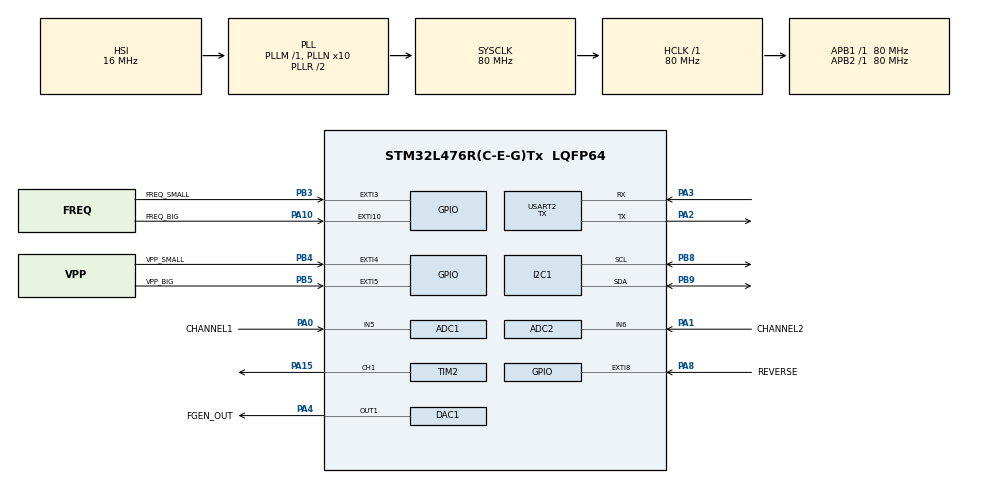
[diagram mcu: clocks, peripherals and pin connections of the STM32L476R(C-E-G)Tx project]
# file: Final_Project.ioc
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ADC1.Channel-0\#ChannelRegularConversion=ADC_CHANNEL_5
ADC1.NbrOfConversionFlag=1
ADC1.OffsetNumber-0\#ChannelRegularConversion=ADC_OFFSET_NONE
ADC1.Rank-0\#ChannelRegularConversion=1
ADC1.SamplingTime-0\#ChannelRegularConversion=ADC_SAMPLETIME_2CYCLES_5
ADC1.master=1
ADC2.Channel-0\#ChannelRegularConversion=ADC_CHANNEL_6
ADC2.NbrOfConversionFlag=1
ADC2.OffsetNumber-0\#ChannelRegularConversion=ADC_OFFSET_NONE
ADC2.Rank-0\#ChannelRegularConversion=1
ADC2.SamplingTime-0\#ChannelRegularConversion=ADC_SAMPLETIME_2CYCLES_5
DAC1.DAC_SampleAndHold-DAC_OUT1=DAC_SAMPLEANDHOLD_DISABLE
DAC1.DAC_Trigger-DAC_OUT1=DAC_TRIGGER_T2_TRGO
DAC1.WaveGeneration-DAC_OUT1=DISABLE
Dma.DAC_CH1.0.Direction=DMA_MEMORY_TO_PERIPH
Dma.DAC_CH1.0.Instance=DMA1_Channel3
Dma.DAC_CH1.0.MemDataAlignment=DMA_MDATAALIGN_WORD
Dma.DAC_CH1.0.MemInc=DMA_MINC_ENABLE
Dma.DAC_CH1.0.Mode=DMA_CIRCULAR
Dma.DAC_CH1.0.PeriphDataAlignment=DMA_PDATAALIGN_WORD
Dma.DAC_CH1.0.PeriphInc=DMA_PINC_DISABLE
Dma.DAC_CH1.0.Priority=DMA_PRIORITY_HIGH
Dma.Request0=DAC_CH1
Dma.Request1=USART2_TX
Dma.USART2_TX.1.Direction=DMA_MEMORY_TO_PERIPH
Dma.USART2_TX.1.Instance=DMA1_Channel7
Dma.USART2_TX.1.MemDataAlignment=DMA_MDATAALIGN_BYTE
Dma.USART2_TX.1.MemInc=DMA_MINC_ENABLE
Dma.USART2_TX.1.Mode=DMA_NORMAL
Dma.USART2_TX.1.PeriphDataAlignment=DMA_PDATAALIGN_BYTE
Dma.USART2_TX.1.PeriphInc=DMA_PINC_DISABLE
Dma.USART2_TX.1.Priority=DMA_PRIORITY_LOW
I2C1.Timing=0x10D19CE4
Mcu.Family=STM32L4
Mcu.Name=STM32L476R(C-E-G)Tx
Mcu.Package=LQFP64
NVIC.DMA1_Channel3_IRQn=true\:0\:0\:false\:false\:true\:false\:true\:true
NVIC.DMA1_Channel7_IRQn=true\:0\:0\:false\:false\:true\:false\:true\:true
NVIC.EXTI15_10_IRQn=true\:0\:0\:false\:false\:true\:true\:true\:true
NVIC.EXTI3_IRQn=true\:0\:0\:false\:false\:true\:true\:true\:true
NVIC.EXTI4_IRQn=true\:0\:0\:false\:false\:true\:true\:true\:true
NVIC.EXTI9_5_IRQn=true\:0\:0\:false\:false\:true\:true\:true\:true
NVIC.PriorityGroup=NVIC_PRIORITYGROUP_4
NVIC.TIM2_IRQn=true\:0\:0\:false\:false\:true\:true\:true\:true
NVIC.TIM6_DAC_IRQn=true\:0\:0\:false\:false\:true\:true\:true\:true
NVIC.USART2_IRQn=true\:0\:0\:false\:false\:true\:true\:true\:true
PA0.GPIO_Label=CHANNEL1
PA0.Signal=ADCx_IN5
PA1.GPIO_Label=CHANNEL2
PA1.Signal=ADCx_IN6
PA10.GPIO_Label=FREQ_BIG
PA10.Signal=GPXTI10
PA13\ (JTMS-SWDIO).GPIO_Label=TMS
PA13\ (JTMS-SWDIO).Mode=Serial_Wire
PA13\ (JTMS-SWDIO).Signal=SYS_JTMS-SWDIO
PA14\ (JTCK-SWCLK).GPIO_Label=TCK
PA14\ (JTCK-SWCLK).Mode=Serial_Wire
PA14\ (JTCK-SWCLK).Signal=SYS_JTCK-SWCLK
PA15\ (JTDI).Signal=S_TIM2_CH1
PA2.Mode=Asynchronous
PA2.Signal=USART2_TX
PA3.Mode=Asynchronous
PA3.Signal=USART2_RX
PA4.GPIO_Label=FGEN_OUT
PA4.Signal=SharedAnalog_PA4
PA8.GPIO_Label=REVERSE
PA8.Signal=GPXTI8
PB3\ (JTDO-TRACESWO).GPIO_Label=FREQ_SMALL
PB3\ (JTDO-TRACESWO).GPIO_PuPd=GPIO_PULLUP
PB3\ (JTDO-TRACESWO).Signal=GPXTI3
PB4\ (NJTRST).GPIO_Label=VPP_SMALL
PB4\ (NJTRST).GPIO_PuPd=GPIO_PULLUP
PB4\ (NJTRST).Signal=GPXTI4
PB5.GPIO_Label=VPP_BIG
PB5.GPIO_PuPd=GPIO_PULLUP
PB5.Signal=GPXTI5
PB8.Mode=I2C
PB8.Signal=I2C1_SCL
PB9.Mode=I2C
PB9.Signal=I2C1_SDA
PC14-OSC32_IN\ (PC14).Mode=LSE-External-Oscillator
PC14-OSC32_IN\ (PC14).Signal=RCC_OSC32_IN
PC15-OSC32_OUT\ (PC15).Mode=LSE-External-Oscillator
PC15-OSC32_OUT\ (PC15).Signal=RCC_OSC32_OUT
PH0-OSC_IN\ (PH0).Signal=RCC_OSC_IN
PH1-OSC_OUT\ (PH1).Signal=RCC_OSC_OUT
ProjectManager.HeapSize=0x200
ProjectManager.StackSize=0x400
ProjectManager.TargetToolchain=STM32CubeIDE
RCC.ADCFreq_Value=64000000
RCC.AHBFreq_Value=80000000
RCC.APB1Freq_Value=80000000
RCC.APB1TimFreq_Value=80000000
RCC.APB2Freq_Value=80000000
RCC.APB2TimFreq_Value=80000000
RCC.CortexFreq_Value=80000000
RCC.HCLKFreq_Value=80000000
RCC.HSE_VALUE=8000000
RCC.HSI_VALUE=16000000
RCC.MSI_VALUE=4000000
RCC.PLLN=10
RCC.PLLSourceVirtual=RCC_PLLSOURCE_HSI
RCC.PREFETCH_ENABLE=1
RCC.SYSCLKFreq_VALUE=80000000
RCC.SYSCLKSource=RCC_SYSCLKSOURCE_PLLCLK
RCC.USBFreq_Value=64000000
RCC.VCOOutputFreq_Value=160000000
SH.ADCx_IN5.0=ADC1_IN5,IN5-Single-Ended
SH.ADCx_IN6.0=ADC2_IN6,IN6-Single-Ended
SH.S_TIM2_CH1.0=TIM2_CH1,Output Compare1 CH1
SH.SharedAnalog_PA4.0=GPIO_Analog
SH.SharedAnalog_PA4.1=DAC1_OUT1,DAC_OUT1
TIM2.AutoReloadPreload=TIM_AUTORELOAD_PRELOAD_DISABLE
TIM2.Channel-Output\ Compare1\ CH1=TIM_CHANNEL_1
TIM2.Period=624
TIM2.Prescaler=0
TIM2.TIM_MasterOutputTrigger=TIM_TRGO_UPDATE
USART2.Mode=MODE_TX
USART2.VirtualMode-Asynchronous=VM_ASYNC
VP_TIM2_VS_ClockSourceINT.Mode=Internal
board=NUCLEO-L476RG

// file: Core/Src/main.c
/* USER CODE BEGIN Header */
/**
  ******************************************************************************
  * @file           : main.c
  * @brief          : Main program body
  ******************************************************************************
  * @attention
  *
  * Copyright (c) 2025 STMicroelectronics.
  * All rights reserved.
  *
  * This software is licensed under terms that can be found in the LICENSE file
  * in the root directory of this software component.
  * If no LICENSE file comes with this software, it is provided AS-IS.
  *
  ******************************************************************************
  */
/* USER CODE END Header */
#include "main.h"

/* USER CODE BEGIN Includes */
//#include <stdio.h>
//#include <stdbool.h>
#include "math.h"
/* USER CODE END Includes */

/* USER CODE BEGIN PM */
// LCD
#define I2C_ADDR 0x27 // I2C address of the PCF8574
#define RS_BIT 0 // Register select bit
#define EN_BIT 2 // Enable bit
#define BL_BIT 3 // Backlight bit
#define D4_BIT 4 // Data 4 bit
#define D5_BIT 5 // Data 5 bit
#define D6_BIT 6 // Data 6 bit
#define D7_BIT 7 // Data 7 bit
#define LCD_ROWS 2 // Number of rows on the LCD
#define LCD_COLS 16 // Number of columns on the LCD

// DAC
#define SAMPLES 128

/* USER CODE END PM */

ADC_HandleTypeDef hadc1;
ADC_HandleTypeDef hadc2;

DAC_HandleTypeDef hdac1;
DMA_HandleTypeDef hdma_dac_ch1;

I2C_HandleTypeDef hi2c1;

TIM_HandleTypeDef htim2;

UART_HandleTypeDef huart2;
DMA_HandleTypeDef hdma_usart2_tx;

/* USER CODE BEGIN PV */
uint8_t backlight_state = 1; // LCD backlight on

uint32_t new_sine_wave[SAMPLES]; // output sine wave to function generator after being scaled from sine33
uint32_t sine33[SAMPLES] = {	// base sine wave for a 3.3 pk-pk, scaled for other valued sine waves
	2048, 2148, 2248, 2348, 2447, 2545, 2642, 2737, 2831, 2923,
	3013, 3100, 3185, 3267, 3346, 3423, 3495, 3565, 3630, 3692,
	3750, 3804, 3853, 3898, 3939, 3975, 4007, 4034, 4056, 4073,
	4085, 4093, 4095, 4093, 4085, 4073, 4056, 4034, 4007, 3975,
	3939, 3898, 3853, 3804, 3750, 3692, 3630, 3565, 3495, 3423,
	3346, 3267, 3185, 3100, 3013, 2923, 2831, 2737, 2642, 2545,
	2447, 2348, 2248, 2148, 2048, 1947, 1847, 1747, 1648, 1550,
	1453, 1358, 1264, 1172, 1082, 995, 910, 828, 749, 672,
	600, 530, 465, 403, 345, 291, 242, 197, 156, 120,
	88, 61, 39, 22, 10, 2, 0, 2, 10, 22,
	39, 61, 88, 120, 156, 197, 242, 291, 345, 403,
	465, 530, 600, 672, 749, 828, 910, 995, 1082, 1172,
	1264, 1358, 1453, 1550, 1648, 1747, 1847, 1947};

uint32_t Vpp = 33;	  // Pk-Pk voltage. divide by 10 for actual value. scale makes it easier to work with
uint32_t freq = 1000; // frequency in Hertz
char Vpp_str[4];
char freq_str[6];

// button debounce timing
uint32_t last_Vpp_small_press = 0;
uint32_t last_Vpp_big_press = 0;
uint32_t last_freq_small_press = 0;
uint32_t last_freq_big_press = 0;
const uint32_t debounce_delay = 200; // milliseconds
/* USER CODE END PV */

void SystemClock_Config(void);
void PeriphCommonClock_Config(void);
static void MX_GPIO_Init(void);
static void MX_DMA_Init(void);
static void MX_ADC1_Init(void);
static void MX_ADC2_Init(void);
static void MX_I2C1_Init(void);
static void MX_DAC1_Init(void);
static void MX_TIM2_Init(void);
static void MX_USART2_UART_Init(void);
/* USER CODE BEGIN PFP */

char* uint16_to_str(uint16_t num, char *str);
void generate_sine_wave(uint32_t new_Vpp);
void set_trigger_frequency(uint32_t wave_frequency);
void update_sine_wave(uint32_t new_Vpp, uint32_t new_freq);

/* USER CODE END PFP */

/* USER CODE BEGIN 0 */
void lcd_write_nibble(uint8_t nibble, uint8_t rs) {
	 uint8_t data = nibble << D4_BIT;
	 data |= rs << RS_BIT;
	 data |= backlight_state << BL_BIT; // Include backlight state in data
	 data |= 1 << EN_BIT;
	 HAL_I2C_Master_Transmit(&hi2c1, I2C_ADDR << 1, &data, 1, 100);
	 HAL_Delay(1);
	 data &= ~(1 << EN_BIT);
	 HAL_I2C_Master_Transmit(&hi2c1, I2C_ADDR << 1, &data, 1, 100);
}
void lcd_send_cmd(uint8_t cmd) {
	 uint8_t upper_nibble = cmd >> 4;
	 uint8_t lower_nibble = cmd & 0x0F;
	 lcd_write_nibble(upper_nibble, 0);
	 lcd_write_nibble(lower_nibble, 0);
	 if (cmd == 0x01 || cmd == 0x02) {
		 HAL_Delay(2);
	 }
}
void lcd_send_data(uint8_t data) {
	 uint8_t upper_nibble = data >> 4;
	 uint8_t lower_nibble = data & 0x0F;
	 lcd_write_nibble(upper_nibble, 1);
	 lcd_write_nibble(lower_nibble, 1);
}
void lcd_init() {
	 HAL_Delay(50);
	 lcd_write_nibble(0x03, 0);
	 HAL_Delay(5);
	 lcd_write_nibble(0x03, 0);
	 HAL_Delay(1);
	 lcd_write_nibble(0x03, 0);
	 HAL_Delay(1);
	 lcd_write_nibble(0x02, 0);
	 lcd_send_cmd(0x28);
	 lcd_send_cmd(0x0C);
	 lcd_send_cmd(0x06);
	 lcd_send_cmd(0x01);
	 HAL_Delay(2);
}
void lcd_write_string(char *str) {
	 while (*str) {
		 lcd_send_data(*str++);
	 }
}
void lcd_set_cursor(uint8_t row, uint8_t column) {
	 uint8_t address;
	 switch (row) {
		 case 0:
			 address = 0x00;
			 break;
		 case 1:
			 address = 0x40;
			 break;
		 default:
			 address = 0x00;
	 }
	 address += column;
	 lcd_send_cmd(0x80 | address);
}
void lcd_clear(void) {
	 lcd_send_cmd(0x01);
	 HAL_Delay(2);
}
void lcd_backlight(uint8_t state) {
	 if (state) {
		 backlight_state = 1;
	 } else {
		 backlight_state = 0;
	 }
}

// converts a Vpp value into a string to be writen to the LCD display
char* Vpp_to_string(uint32_t num, char *str) {
    switch (num) {
        case 0: str[0] = '0'; str[1] = '.'; str[2] = '0'; str[3] = 'V'; str[4] = '\0'; break;
        case 1: str[0] = '0'; str[1] = '.'; str[2] = '1'; str[3] = 'V'; str[4] = '\0'; break;
        case 2: str[0] = '0'; str[1] = '.'; str[2] = '2'; str[3] = 'V'; str[4] = '\0'; break;
        case 3: str[0] = '0'; str[1] = '.'; str[2] = '3'; str[3] = 'V'; str[4] = '\0'; break;
        case 4: str[0] = '0'; str[1] = '.'; str[2] = '4'; str[3] = 'V'; str[4] = '\0'; break;
        case 5: str[0] = '0'; str[1] = '.'; str[2] = '5'; str[3] = 'V'; str[4] = '\0'; break;
        case 6: str[0] = '0'; str[1] = '.'; str[2] = '6'; str[3] = 'V'; str[4] = '\0'; break;
        case 7: str[0] = '0'; str[1] = '.'; str[2] = '7'; str[3] = 'V'; str[4] = '\0'; break;
        case 8: str[0] = '0'; str[1] = '.'; str[2] = '8'; str[3] = 'V'; str[4] = '\0'; break;
        case 9: str[0] = '0'; str[1] = '.'; str[2] = '9'; str[3] = 'V'; str[4] = '\0'; break;
        case 10: str[0] = '1'; str[1] = '.'; str[2] = '0'; str[3] = 'V'; str[4] = '\0'; break;
        case 11: str[0] = '1'; str[1] = '.'; str[2] = '1'; str[3] = 'V'; str[4] = '\0'; break;
        case 12: str[0] = '1'; str[1] = '.'; str[2] = '2'; str[3] = 'V'; str[4] = '\0'; break;
        case 13: str[0] = '1'; str[1] = '.'; str[2] = '3'; str[3] = 'V'; str[4] = '\0'; break;
        case 14: str[0] = '1'; str[1] = '.'; str[2] = '4'; str[3] = 'V'; str[4] = '\0'; break;
        case 15: str[0] = '1'; str[1] = '.'; str[2] = '5'; str[3] = 'V'; str[4] = '\0'; break;
        case 16: str[0] = '1'; str[1] = '.'; str[2] = '6'; str[3] = 'V'; str[4] = '\0'; break;
        case 17: str[0] = '1'; str[1] = '.'; str[2] = '7'; str[3] = 'V'; str[4] = '\0'; break;
        case 18: str[0] = '1'; str[1] = '.'; str[2] = '8'; str[3] = 'V'; str[4] = '\0'; break;
        case 19: str[0] = '1'; str[1] = '.'; str[2] = '9'; str[3] = 'V'; str[4] = '\0'; break;
        case 20: str[0] = '2'; str[1] = '.'; str[2] = '0'; str[3] = 'V'; str[4] = '\0'; break;
        case 21: str[0] = '2'; str[1] = '.'; str[2] = '1'; str[3] = 'V'; str[4] = '\0'; break;
        case 22: str[0] = '2'; str[1] = '.'; str[2] = '2'; str[3] = 'V'; str[4] = '\0'; break;
        case 23: str[0] = '2'; str[1] = '.'; str[2] = '3'; str[3] = 'V'; str[4] = '\0'; break;
        case 24: str[0] = '2'; str[1] = '.'; str[2] = '4'; str[3] = 'V'; str[4] = '\0'; break;
        case 25: str[0] = '2'; str[1] = '.'; str[2] = '5'; str[3] = 'V'; str[4] = '\0'; break;
        case 26: str[0] = '2'; str[1] = '.'; str[2] = '6'; str[3] = 'V'; str[4] = '\0'; break;
        case 27: str[0] = '2'; str[1] = '.'; str[2] = '7'; str[3] = 'V'; str[4] = '\0'; break;
        case 28: str[0] = '2'; str[1] = '.'; str[2] = '8'; str[3] = 'V'; str[4] = '\0'; break;
        case 29: str[0] = '2'; str[1] = '.'; str[2] = '9'; str[3] = 'V'; str[4] = '\0'; break;
        case 30: str[0] = '3'; str[1] = '.'; str[2] = '0'; str[3] = 'V'; str[4] = '\0'; break;
        case 31: str[0] = '3'; str[1] = '.'; str[2] = '1'; str[3] = 'V'; str[4] = '\0'; break;
        case 32: str[0] = '3'; str[1] = '.'; str[2] = '2'; str[3] = 'V'; str[4] = '\0'; break;
        case 33: str[0] = '3'; str[1] = '.'; str[2] = '3'; str[3] = 'V'; str[4] = '\0'; break;
        default: str[0] = '-'; str[1] = '-'; str[2] = '-'; str[3] = '-'; str[4] = '\0'; break;
    }
    return str;
}

// converts a frequency value into a string to be writen to the LCD display
char* freq_to_string(uint32_t num, char *str) {
    switch (num) {
        case 1:     str[0]='1';str[1]='H';str[2]='z';str[3]=' ';str[4]=' ';str[5]=' ';str[6]='\0';break;
        case 2:     str[0]='2';str[1]='H';str[2]='z';str[3]=' ';str[4]=' ';str[5]=' ';str[6]='\0';break;
        case 3:     str[0]='3';str[1]='H';str[2]='z';str[3]=' ';str[4]=' ';str[5]=' ';str[6]='\0';break;
        case 4:     str[0]='4';str[1]='H';str[2]='z';str[3]=' ';str[4]=' ';str[5]=' ';str[6]='\0';break;
        case 5:     str[0]='5';str[1]='H';str[2]='z';str[3]=' ';str[4]=' ';str[5]=' ';str[6]='\0';break;
        case 6:     str[0]='6';str[1]='H';str[2]='z';str[3]=' ';str[4]=' ';str[5]=' ';str[6]='\0';break;
        case 7:     str[0]='7';str[1]='H';str[2]='z';str[3]=' ';str[4]=' ';str[5]=' ';str[6]='\0';break;
        case 8:     str[0]='8';str[1]='H';str[2]='z';str[3]=' ';str[4]=' ';str[5]=' ';str[6]='\0';break;
        case 9:     str[0]='9';str[1]='H';str[2]='z';str[3]=' ';str[4]=' ';str[5]=' ';str[6]='\0';break;
        case 10:    str[0]='1';str[1]='0';str[2]='H';str[3]='z';str[4]=' ';str[5]=' ';str[6]='\0';break;
        case 100:   str[0]='1';str[1]='0';str[2]='0';str[3]='H';str[4]='z';str[5]=' ';str[6]='\0';break;
        case 1000:  str[0]='1';str[1]='k';str[2]='H';str[3]='z';str[4]=' ';str[5]=' ';str[6]='\0';break;
        case 2000:  str[0]='2';str[1]='k';str[2]='H';str[3]='z';str[4]=' ';str[5]=' ';str[6]='\0';break;
        case 3000:  str[0]='3';str[1]='k';str[2]='H';str[3]='z';str[4]=' ';str[5]=' ';str[6]='\0';break;
        case 4000:  str[0]='4';str[1]='k';str[2]='H';str[3]='z';str[4]=' ';str[5]=' ';str[6]='\0';break;
        case 5000:  str[0]='5';str[1]='k';str[2]='H';str[3]='z';str[4]=' ';str[5]=' ';str[6]='\0';break;
        case 6000:  str[0]='6';str[1]='k';str[2]='H';str[3]='z';str[4]=' ';str[5]=' ';str[6]='\0';break;
        case 7000:  str[0]='7';str[1]='k';str[2]='H';str[3]='z';str[4]=' ';str[5]=' ';str[6]='\0';break;
        case 8000:  str[0]='8';str[1]='k';str[2]='H';str[3]='z';str[4]=' ';str[5]=' ';str[6]='\0';break;
        case 9000:  str[0]='9';str[1]='k';str[2]='H';str[3]='z';str[4]=' ';str[5]=' ';str[6]='\0';break;
        case 10000: str[0]='1';str[1]='0';str[2]='k';str[3]='H';str[4]='z';str[5]=' ';str[6]='\0';break;
        case 20000: str[0]='2';str[1]='0';str[2]='k';str[3]='H';str[4]='z';str[5]=' ';str[6]='\0';break;
        case 30000: str[0]='3';str[1]='0';str[2]='k';str[3]='H';str[4]='z';str[5]=' ';str[6]='\0';break;
        case 40000: str[0]='4';str[1]='0';str[2]='k';str[3]='H';str[4]='z';str[5]=' ';str[6]='\0';break;
        case 50000: str[0]='5';str[1]='0';str[2]='k';str[3]='H';str[4]='z';str[5]=' ';str[6]='\0';break;
        case 60000: str[0]='6';str[1]='0';str[2]='k';str[3]='H';str[4]='z';str[5]=' ';str[6]='\0';break;
        case 70000: str[0]='7';str[1]='0';str[2]='k';str[3]='H';str[4]='z';str[5]=' ';str[6]='\0';break;
        case 80000: str[0]='8';str[1]='0';str[2]='k';str[3]='H';str[4]='z';str[5]=' ';str[6]='\0';break;
        case 90000: str[0]='9';str[1]='0';str[2]='k';str[3]='H';str[4]='z';str[5]=' ';str[6]='\0';break;
        case 100000: str[0]='1';str[1]='0';str[2]='0';str[3]='k';str[4]=' ';str[5]=' ';str[6]='\0';break;
        case 200000: str[0]='2';str[1]='0';str[2]='0';str[3]='k';str[4]=' ';str[5]=' ';str[6]='\0';break;
        case 300000: str[0]='3';str[1]='0';str[2]='0';str[3]='k';str[4]=' ';str[5]=' ';str[6]='\0';break;
        case 400000: str[0]='4';str[1]='0';str[2]='0';str[3]='k';str[4]=' ';str[5]=' ';str[6]='\0';break;
        case 500000: str[0]='5';str[1]='0';str[2]='0';str[3]='k';str[4]=' ';str[5]=' ';str[6]='\0';break;
        case 600000: str[0]='6';str[1]='0';str[2]='0';str[3]='k';str[4]=' ';str[5]=' ';str[6]='\0';break;
        case 700000: str[0]='7';str[1]='0';str[2]='0';str[3]='k';str[4]=' ';str[5]=' ';str[6]='\0';break;
        case 800000: str[0]='8';str[1]='0';str[2]='0';str[3]='k';str[4]=' ';str[5]=' ';str[6]='\0';break;
        case 900000: str[0]='9';str[1]='0';str[2]='0';str[3]='k';str[4]=' ';str[5]=' ';str[6]='\0';break;
        case 1000000: str[0]='1';str[1]='M';str[2]='H';str[3]='z';str[4]=' ';str[5]=' ';str[6]='\0';break;
        default:    str[0]='-';str[1]='-';str[2]='-';str[3]='-';str[4]='-';str[5]='-';str[6]='\0';break;
    }
    return str;
}

/* USER CODE END 0 */

int main(void)
{

  /* MCU Configuration--------------------------------------------------------*/

  /* Reset of all peripherals, Initializes the Flash interface and the Systick. */
  HAL_Init();

  /* Configure the system clock */
  SystemClock_Config();

  /* Configure the peripherals common clocks */
  PeriphCommonClock_Config();

  /* Initialize all configured peripherals */
  MX_GPIO_Init();
  MX_DMA_Init();
  MX_ADC1_Init();
  MX_ADC2_Init();
  MX_I2C1_Init();
  MX_DAC1_Init();
  MX_TIM2_Init();
  MX_USART2_UART_Init();
  /* USER CODE BEGIN 2 */

  // I2C pull-up resistors for LCD
  GPIOB->PUPDR |= 0b01 << (8*2);
  GPIOB->PUPDR |= 0b01 << (9*2);
  // Initialize the LCD
  lcd_init();
  lcd_backlight(1); // Turn on backlight

  // Write the label text on the LCD
  lcd_write_string("Peak-Peak: "); // first line, ends column 11 (4 columns left)
  lcd_set_cursor(1, 0);
  lcd_write_string("Frequency: "); // second line, ends column 11 (4 columns left)

  // start the timer for DAC and set up initial sine wave output for function generator
  HAL_TIM_Base_Start(&htim2);
  update_sine_wave(Vpp, freq);
  /* USER CODE END 2 */

  /* Infinite loop */
  /* USER CODE BEGIN WHILE */
  while (1)
  {
	  	/* LCD display */
	    // Vpp value display
		lcd_set_cursor(0, 11);
		Vpp_to_string(Vpp, Vpp_str);
		lcd_write_string(Vpp_str);

		// Frequency value display
		lcd_set_cursor(1, 11);
	    freq_to_string(freq, freq_str);
	    lcd_write_string(freq_str);

	    /* oscilloscope */
	    // get channel 1 sample value
		HAL_ADC_Start(&hadc1);
		HAL_ADC_PollForConversion(&hadc1, HAL_MAX_DELAY);
		uint16_t channel_1 = HAL_ADC_GetValue(&hadc1);

		// get channel 2 sample value
		HAL_ADC_Start(&hadc2);
		HAL_ADC_PollForConversion(&hadc2, HAL_MAX_DELAY);
		uint16_t channel_2 = HAL_ADC_GetValue(&hadc2);

		char buffer[16];
		char *ptr = buffer;

		// Convert channel_1
		char str1[6]; // Max 5 digits + null
		uint16_to_str(channel_1, str1);
		char *s1 = str1;  // pointer to traverse the array
		while (*s1) *ptr++ = *s1++;

		*ptr++ = ',';

		// Convert channel_2
		char str2[6];
		uint16_to_str(channel_2, str2);
		char *s2 = str2;  // pointer to traverse the second string
		while (*s2) *ptr++ = *s2++;

		*ptr++ = '\n';
		*ptr = '\0';

		// send information to laptop running python script to display waveforms
		HAL_UART_Transmit(&huart2, (uint8_t*)buffer, (uint16_t)(ptr - buffer), HAL_MAX_DELAY);
    /* USER CODE END WHILE */

  }
}

void SystemClock_Config(void)
{
  RCC_OscInitTypeDef RCC_OscInitStruct = {0};
  RCC_ClkInitTypeDef RCC_ClkInitStruct = {0};

  /** Configure the main internal regulator output voltage
  */
  if (HAL_PWREx_ControlVoltageScaling(PWR_REGULATOR_VOLTAGE_SCALE1) != HAL_OK)
  {
    Error_Handler();
  }

  /** Initializes the RCC Oscillators according to the specified parameters
  * in the RCC_OscInitTypeDef structure.
  */
  RCC_OscInitStruct.OscillatorType = RCC_OSCILLATORTYPE_HSI;
  RCC_OscInitStruct.HSIState = RCC_HSI_ON;
  RCC_OscInitStruct.HSICalibrationValue = RCC_HSICALIBRATION_DEFAULT;
  RCC_OscInitStruct.PLL.PLLState = RCC_PLL_ON;
  RCC_OscInitStruct.PLL.PLLSource = RCC_PLLSOURCE_HSI;
  RCC_OscInitStruct.PLL.PLLM = 1;
  RCC_OscInitStruct.PLL.PLLN = 10;
  RCC_OscInitStruct.PLL.PLLP = RCC_PLLP_DIV7;
  RCC_OscInitStruct.PLL.PLLQ = RCC_PLLQ_DIV2;
  RCC_OscInitStruct.PLL.PLLR = RCC_PLLR_DIV2;
  if (HAL_RCC_OscConfig(&RCC_OscInitStruct) != HAL_OK)
  {
    Error_Handler();
  }

  /** Initializes the CPU, AHB and APB buses clocks
  */
  RCC_ClkInitStruct.ClockType = RCC_CLOCKTYPE_HCLK|RCC_CLOCKTYPE_SYSCLK
                              |RCC_CLOCKTYPE_PCLK1|RCC_CLOCKTYPE_PCLK2;
  RCC_ClkInitStruct.SYSCLKSource = RCC_SYSCLKSOURCE_PLLCLK;
  RCC_ClkInitStruct.AHBCLKDivider = RCC_SYSCLK_DIV1;
  RCC_ClkInitStruct.APB1CLKDivider = RCC_HCLK_DIV1;
  RCC_ClkInitStruct.APB2CLKDivider = RCC_HCLK_DIV1;

  if (HAL_RCC_ClockConfig(&RCC_ClkInitStruct, FLASH_LATENCY_4) != HAL_OK)
  {
    Error_Handler();
  }
}

void PeriphCommonClock_Config(void)
{
  RCC_PeriphCLKInitTypeDef PeriphClkInit = {0};

  /** Initializes the peripherals clock
  */
  PeriphClkInit.PeriphClockSelection = RCC_PERIPHCLK_ADC;
  PeriphClkInit.AdcClockSelection = RCC_ADCCLKSOURCE_PLLSAI1;
  PeriphClkInit.PLLSAI1.PLLSAI1Source = RCC_PLLSOURCE_HSI;
  PeriphClkInit.PLLSAI1.PLLSAI1M = 1;
  PeriphClkInit.PLLSAI1.PLLSAI1N = 8;
  PeriphClkInit.PLLSAI1.PLLSAI1P = RCC_PLLP_DIV7;
  PeriphClkInit.PLLSAI1.PLLSAI1Q = RCC_PLLQ_DIV2;
  PeriphClkInit.PLLSAI1.PLLSAI1R = RCC_PLLR_DIV2;
  PeriphClkInit.PLLSAI1.PLLSAI1ClockOut = RCC_PLLSAI1_ADC1CLK;
  if (HAL_RCCEx_PeriphCLKConfig(&PeriphClkInit) != HAL_OK)
  {
    Error_Handler();
  }
}

static void MX_ADC1_Init(void)
{

  ADC_MultiModeTypeDef multimode = {0};
  ADC_ChannelConfTypeDef sConfig = {0};

  /** Common config
  */
  hadc1.Instance = ADC1;
  hadc1.Init.ClockPrescaler = ADC_CLOCK_ASYNC_DIV1;
  hadc1.Init.Resolution = ADC_RESOLUTION_12B;
  hadc1.Init.DataAlign = ADC_DATAALIGN_RIGHT;
  hadc1.Init.ScanConvMode = ADC_SCAN_DISABLE;
  hadc1.Init.EOCSelection = ADC_EOC_SINGLE_CONV;
  hadc1.Init.LowPowerAutoWait = DISABLE;
  hadc1.Init.ContinuousConvMode = DISABLE;
  hadc1.Init.NbrOfConversion = 1;
  hadc1.Init.DiscontinuousConvMode = DISABLE;
  hadc1.Init.ExternalTrigConv = ADC_SOFTWARE_START;
  hadc1.Init.ExternalTrigConvEdge = ADC_EXTERNALTRIGCONVEDGE_NONE;
  hadc1.Init.DMAContinuousRequests = DISABLE;
  hadc1.Init.Overrun = ADC_OVR_DATA_PRESERVED;
  hadc1.Init.OversamplingMode = DISABLE;
  if (HAL_ADC_Init(&hadc1) != HAL_OK)
  {
    Error_Handler();
  }

  /** Configure the ADC multi-mode
  */
  multimode.Mode = ADC_MODE_INDEPENDENT;
  if (HAL_ADCEx_MultiModeConfigChannel(&hadc1, &multimode) != HAL_OK)
  {
    Error_Handler();
  }

  /** Configure Regular Channel
  */
  sConfig.Channel = ADC_CHANNEL_5;
  sConfig.Rank = ADC_REGULAR_RANK_1;
  sConfig.SamplingTime = ADC_SAMPLETIME_2CYCLES_5;
  sConfig.SingleDiff = ADC_SINGLE_ENDED;
  sConfig.OffsetNumber = ADC_OFFSET_NONE;
  sConfig.Offset = 0;
  if (HAL_ADC_ConfigChannel(&hadc1, &sConfig) != HAL_OK)
  {
    Error_Handler();
  }

}

static void MX_ADC2_Init(void)
{

  ADC_ChannelConfTypeDef sConfig = {0};

  /** Common config
  */
  hadc2.Instance = ADC2;
  hadc2.Init.ClockPrescaler = ADC_CLOCK_ASYNC_DIV1;
  hadc2.Init.Resolution = ADC_RESOLUTION_12B;
  hadc2.Init.DataAlign = ADC_DATAALIGN_RIGHT;
  hadc2.Init.ScanConvMode = ADC_SCAN_DISABLE;
  hadc2.Init.EOCSelection = ADC_EOC_SINGLE_CONV;
  hadc2.Init.LowPowerAutoWait = DISABLE;
  hadc2.Init.ContinuousConvMode = DISABLE;
  hadc2.Init.NbrOfConversion = 1;
  hadc2.Init.DiscontinuousConvMode = DISABLE;
  hadc2.Init.ExternalTrigConv = ADC_SOFTWARE_START;
  hadc2.Init.ExternalTrigConvEdge = ADC_EXTERNALTRIGCONVEDGE_NONE;
  hadc2.Init.DMAContinuousRequests = DISABLE;
  hadc2.Init.Overrun = ADC_OVR_DATA_PRESERVED;
  hadc2.Init.OversamplingMode = DISABLE;
  if (HAL_ADC_Init(&hadc2) != HAL_OK)
  {
    Error_Handler();
  }

  /** Configure Regular Channel
  */
  sConfig.Channel = ADC_CHANNEL_6;
  sConfig.Rank = ADC_REGULAR_RANK_1;
  sConfig.SamplingTime = ADC_SAMPLETIME_2CYCLES_5;
  sConfig.SingleDiff = ADC_SINGLE_ENDED;
  sConfig.OffsetNumber = ADC_OFFSET_NONE;
  sConfig.Offset = 0;
  if (HAL_ADC_ConfigChannel(&hadc2, &sConfig) != HAL_OK)
  {
    Error_Handler();
  }

}

static void MX_DAC1_Init(void)
{

  DAC_ChannelConfTypeDef sConfig = {0};

  /** DAC Initialization
  */
  hdac1.Instance = DAC1;
  if (HAL_DAC_Init(&hdac1) != HAL_OK)
  {
    Error_Handler();
  }

  /** DAC channel OUT1 config
  */
  sConfig.DAC_SampleAndHold = DAC_SAMPLEANDHOLD_DISABLE;
  sConfig.DAC_Trigger = DAC_TRIGGER_T2_TRGO;
  sConfig.DAC_OutputBuffer = DAC_OUTPUTBUFFER_ENABLE;
  sConfig.DAC_ConnectOnChipPeripheral = DAC_CHIPCONNECT_DISABLE;
  sConfig.DAC_UserTrimming = DAC_TRIMMING_FACTORY;
  if (HAL_DAC_ConfigChannel(&hdac1, &sConfig, DAC_CHANNEL_1) != HAL_OK)
  {
    Error_Handler();
  }

}

static void MX_I2C1_Init(void)
{

  hi2c1.Instance = I2C1;
  hi2c1.Init.Timing = 0x10D19CE4;
  hi2c1.Init.OwnAddress1 = 0;
  hi2c1.Init.AddressingMode = I2C_ADDRESSINGMODE_7BIT;
  hi2c1.Init.DualAddressMode = I2C_DUALADDRESS_DISABLE;
  hi2c1.Init.OwnAddress2 = 0;
  hi2c1.Init.OwnAddress2Masks = I2C_OA2_NOMASK;
  hi2c1.Init.GeneralCallMode = I2C_GENERALCALL_DISABLE;
  hi2c1.Init.NoStretchMode = I2C_NOSTRETCH_DISABLE;
  if (HAL_I2C_Init(&hi2c1) != HAL_OK)
  {
    Error_Handler();
  }

  /** Configure Analogue filter
  */
  if (HAL_I2CEx_ConfigAnalogFilter(&hi2c1, I2C_ANALOGFILTER_ENABLE) != HAL_OK)
  {
    Error_Handler();
  }

  /** Configure Digital filter
  */
  if (HAL_I2CEx_ConfigDigitalFilter(&hi2c1, 0) != HAL_OK)
  {
    Error_Handler();
  }

}

static void MX_TIM2_Init(void)
{

  TIM_ClockConfigTypeDef sClockSourceConfig = {0};
  TIM_MasterConfigTypeDef sMasterConfig = {0};
  TIM_OC_InitTypeDef sConfigOC = {0};

  htim2.Instance = TIM2;
  htim2.Init.Prescaler = 0;
  htim2.Init.CounterMode = TIM_COUNTERMODE_UP;
  htim2.Init.Period = 624;
  htim2.Init.ClockDivision = TIM_CLOCKDIVISION_DIV1;
  htim2.Init.AutoReloadPreload = TIM_AUTORELOAD_PRELOAD_DISABLE;
  if (HAL_TIM_Base_Init(&htim2) != HAL_OK)
  {
    Error_Handler();
  }
  sClockSourceConfig.ClockSource = TIM_CLOCKSOURCE_INTERNAL;
  if (HAL_TIM_ConfigClockSource(&htim2, &sClockSourceConfig) != HAL_OK)
  {
    Error_Handler();
  }
  if (HAL_TIM_OC_Init(&htim2) != HAL_OK)
  {
    Error_Handler();
  }
  sMasterConfig.MasterOutputTrigger = TIM_TRGO_UPDATE;
  sMasterConfig.MasterSlaveMode = TIM_MASTERSLAVEMODE_DISABLE;
  if (HAL_TIMEx_MasterConfigSynchronization(&htim2, &sMasterConfig) != HAL_OK)
  {
    Error_Handler();
  }
  sConfigOC.OCMode = TIM_OCMODE_TIMING;
  sConfigOC.Pulse = 0;
  sConfigOC.OCPolarity = TIM_OCPOLARITY_HIGH;
  sConfigOC.OCFastMode = TIM_OCFAST_DISABLE;
  if (HAL_TIM_OC_ConfigChannel(&htim2, &sConfigOC, TIM_CHANNEL_1) != HAL_OK)
  {
    Error_Handler();
  }
  HAL_TIM_MspPostInit(&htim2);

}

static void MX_USART2_UART_Init(void)
{

  huart2.Instance = USART2;
  huart2.Init.BaudRate = 115200;
  huart2.Init.WordLength = UART_WORDLENGTH_8B;
  huart2.Init.StopBits = UART_STOPBITS_1;
  huart2.Init.Parity = UART_PARITY_NONE;
  huart2.Init.Mode = UART_MODE_TX;
  huart2.Init.HwFlowCtl = UART_HWCONTROL_NONE;
  huart2.Init.OverSampling = UART_OVERSAMPLING_16;
  huart2.Init.OneBitSampling = UART_ONE_BIT_SAMPLE_DISABLE;
  huart2.AdvancedInit.AdvFeatureInit = UART_ADVFEATURE_NO_INIT;
  if (HAL_UART_Init(&huart2) != HAL_OK)
  {
    Error_Handler();
  }

}

static void MX_DMA_Init(void)
{

  /* DMA controller clock enable */
  __HAL_RCC_DMA1_CLK_ENABLE();

  /* DMA interrupt init */
  /* DMA1_Channel3_IRQn interrupt configuration */
  HAL_NVIC_SetPriority(DMA1_Channel3_IRQn, 0, 0);
  HAL_NVIC_EnableIRQ(DMA1_Channel3_IRQn);
  /* DMA1_Channel7_IRQn interrupt configuration */
  HAL_NVIC_SetPriority(DMA1_Channel7_IRQn, 0, 0);
  HAL_NVIC_EnableIRQ(DMA1_Channel7_IRQn);

}

static void MX_GPIO_Init(void)
{
  GPIO_InitTypeDef GPIO_InitStruct = {0};

  /* GPIO Ports Clock Enable */
  __HAL_RCC_GPIOC_CLK_ENABLE();
  __HAL_RCC_GPIOH_CLK_ENABLE();
  __HAL_RCC_GPIOA_CLK_ENABLE();
  __HAL_RCC_GPIOB_CLK_ENABLE();

  /*Configure GPIO pins : REVERSE_Pin FREQ_BIG_Pin */
  GPIO_InitStruct.Pin = REVERSE_Pin|FREQ_BIG_Pin;
  GPIO_InitStruct.Mode = GPIO_MODE_IT_RISING;
  GPIO_InitStruct.Pull = GPIO_NOPULL;
  HAL_GPIO_Init(GPIOA, &GPIO_InitStruct);

  /*Configure GPIO pins : FREQ_SMALL_Pin VPP_SMALL_Pin VPP_BIG_Pin */
  GPIO_InitStruct.Pin = FREQ_SMALL_Pin|VPP_SMALL_Pin|VPP_BIG_Pin;
  GPIO_InitStruct.Mode = GPIO_MODE_IT_RISING;
  GPIO_InitStruct.Pull = GPIO_PULLUP;
  HAL_GPIO_Init(GPIOB, &GPIO_InitStruct);

  /* EXTI interrupt init*/
  HAL_NVIC_SetPriority(EXTI3_IRQn, 0, 0);
  HAL_NVIC_EnableIRQ(EXTI3_IRQn);

  HAL_NVIC_SetPriority(EXTI4_IRQn, 0, 0);
  HAL_NVIC_EnableIRQ(EXTI4_IRQn);

  HAL_NVIC_SetPriority(EXTI9_5_IRQn, 0, 0);
  HAL_NVIC_EnableIRQ(EXTI9_5_IRQn);

  HAL_NVIC_SetPriority(EXTI15_10_IRQn, 0, 0);
  HAL_NVIC_EnableIRQ(EXTI15_10_IRQn);

}

/* USER CODE BEGIN 4 */

// converts a uint16_t to a string for sending over UART to laptop
char* uint16_to_str(uint16_t num, char *str) {
    int i = 0;
    if (num == 0) {
        str[i++] = '0';
    } else {
        char temp[5];
        int j = 0;
        while (num > 0) {
            temp[j++] = (num % 10) + '0';
            num /= 10;
        }
        while (j > 0) {
            str[i++] = temp[--j];
        }
    }
    str[i] = '\0';
    return str;
}

// scales the 3.3V (33) sine wave to another given pk-pk value
void generate_sine_wave(uint32_t new_Vpp)
{
	for (int i = 0; i < 128; i++) {
		new_sine_wave[i] = (uint32_t)((sine33[i] * new_Vpp) / 33);
	}
}

// modifies the Auto-Reload Register in order to adjust wave frequency
void set_trigger_frequency(uint32_t wave_frequency) {
	uint32_t trigger_frequency = wave_frequency * SAMPLES;
	uint32_t arr = (80000000 / trigger_frequency) - 1; // internal clk = 80MHz

    __HAL_TIM_SET_AUTORELOAD(&htim2, arr);
    HAL_TIM_GenerateEvent(&htim2, TIM_EVENTSOURCE_UPDATE);
    HAL_TIM_Base_Start(&htim2);  // Restart timer
}

// Stops DMA, then calls the other functions to adjust amplitudew and frequency, then starts DMA again
void update_sine_wave(uint32_t new_Vpp, uint32_t new_freq)
{
    HAL_DAC_Stop_DMA(&hdac1, DAC_CHANNEL_1); // Stop DAC DMA
    generate_sine_wave(new_Vpp);          // Update sine wave values
    set_trigger_frequency(new_freq);          // Update frequency
    HAL_DAC_Start_DMA(&hdac1, DAC_CHANNEL_1, new_sine_wave, SAMPLES, DAC_ALIGN_12B_R); // Restart DAC DMA
    HAL_TIM_Base_Start_IT(&htim2);
}

// called whenever a button is pushed (used for amplitude and frequency adjustment)
void HAL_GPIO_EXTI_Callback(uint16_t GPIO_Pin)
{
    uint32_t current_time = HAL_GetTick(); // gets current time for button debouncing purposes

    if (GPIO_Pin == VPP_SMALL_Pin) {
        // Debounce check for VPP_SMALL button
        if (current_time - last_Vpp_small_press > debounce_delay) {
            last_Vpp_small_press = current_time;

            // Check REVERSE pin state to determine direction of change
            if (HAL_GPIO_ReadPin(REVERSE_GPIO_Port, REVERSE_Pin) == 0) {
                // Decrease Vpp by 1 if not already at 0; else wrap around to 33
                if (Vpp > 0) Vpp -= 1;
                else Vpp = 33;
            } else {
                // Increase Vpp by 1 if below 33; else wrap around to 0
                if (Vpp < 33) Vpp += 1;
                else Vpp = 0;
            }
        }
    }

    else if (GPIO_Pin == VPP_BIG_Pin) {
        // Debounce check for VPP_BIG button
        if (current_time - last_Vpp_big_press > debounce_delay) {
            last_Vpp_big_press = current_time;

            // Check REVERSE pin state to determine direction of change
            if (HAL_GPIO_ReadPin(REVERSE_GPIO_Port, REVERSE_Pin) == 0) {
                // Decrease Vpp by 10, or wrap around to 33 if below 10
                if (Vpp >= 10) Vpp -= 10;
                else Vpp = 33;
            } else {
                // Increase Vpp by 10 if result will be <= 33; else wrap to 0
                if (Vpp <= 23) Vpp += 10;
                else Vpp = 0;
            }
        }
    }

    else if (GPIO_Pin == FREQ_SMALL_Pin) {
        // Debounce check for FREQ_SMALL button
        if (current_time - last_freq_small_press > debounce_delay) {
            last_freq_small_press = current_time;

            // REVERSE pressed: decrease frequency based on range
            if (HAL_GPIO_ReadPin(REVERSE_GPIO_Port, REVERSE_Pin) == 0) {
                if      (freq < 1)        freq = 1000000;      // Wrap to max
                else if (freq <= 10)      freq -= 1;
                else if (freq <= 100)     freq -= 10;
                else if (freq <= 1000)    freq -= 100;
                else if (freq <= 10000)   freq -= 1000;
                else if (freq <= 100000)  freq -= 10000;
            } else {
                // REVERSE not pressed: increase frequency based on range
                if      (freq > 1000000)  freq = 1;             // Wrap to min
                else if (freq >= 100000)  freq += 100000;
                else if (freq >= 10000)   freq += 10000;
                else if (freq >= 1000)    freq += 1000;
                else if (freq >= 100)     freq += 100;
                else if (freq >= 10)      freq += 10;
                else if (freq >= 1)       freq += 1;
            }
        }
    }

    else if (GPIO_Pin == FREQ_BIG_Pin) {
        // Debounce check for FREQ_BIG button
        if (current_time - last_freq_big_press > debounce_delay) {
            last_freq_big_press = current_time;

            // REVERSE pressed: divide frequency by 10 or wrap to 100000 if at min
            if (HAL_GPIO_ReadPin(REVERSE_GPIO_Port, REVERSE_Pin) == 0) {
                if (freq > 1) freq /= 10;
                else freq = 100000;
            } else {
                // REVERSE not pressed: multiply frequency by 10 or wrap to 1 if at max
                if (freq < 1000000) freq *= 10;
                else freq = 1;
            }
        }
    }

    // Update the sine wave output with the current amplitude (Vpp) and frequency
    update_sine_wave(Vpp, freq);
}
/* USER CODE END 4 */

void Error_Handler(void)
{
  __disable_irq();
  while (1)
  {
  }
}
